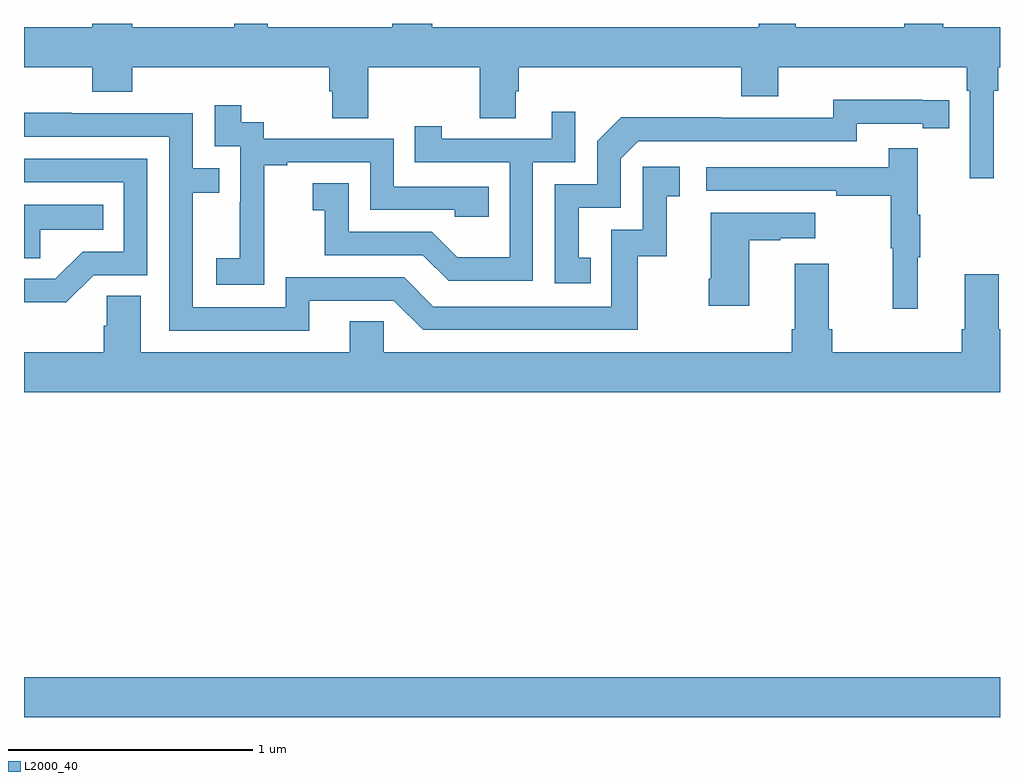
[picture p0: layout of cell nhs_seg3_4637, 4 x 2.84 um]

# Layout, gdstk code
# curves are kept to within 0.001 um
import gdstk
lib = gdstk.Library(unit=1e-6, precision=1e-09)
def R(c, l, rs):  # rectangles x0, y0, x1, y1
    for r in rs: c.add(gdstk.rectangle(r[:2], r[2:], *l))
def P(c, l, *ps):  # polygons
    for p in ps: c.add(gdstk.Polygon(p, *l))
L2000_40 = (2000, 40)

nhs_seg3_4637 = lib.new_cell('nhs_seg3_4637')
R(nhs_seg3_4637, L2000_40, [(359,727.556,363,727.72)])
P(nhs_seg3_4637, L2000_40, [(359.999,730.4),(359.861,730.4),(359.861,730.384),(359.443,730.384),(359.443,730.4),(359.279,730.4),(359.279,730.384),(359,730.384),(359,730.22),(359.279,730.22),(359.279,730.121),(359.444,730.121),(359.444,730.22),(360.251,730.22),(360.251,730.122),(360.263,730.122),(360.263,730.012),(360.411,730.012),(360.411,730.22),(360.868,730.22),(360.868,730.012),(361.015,730.012),(361.015,730.122),(361.028,730.122),(361.028,730.22),(361.94,730.22),(361.94,730.103),(362.092,730.103),(362.092,730.22),(362.864,730.22),(362.864,730.124),(362.877,730.124),(362.877,729.765),(362.974,729.765),(362.974,730.124),(362.993,730.124),(362.993,730.22),(363,730.22),(363,730.384),(362.768,730.384),(362.768,730.4),(362.608,730.4),(362.608,730.384),(362.163,730.384),(362.163,730.4),(362.012,730.4),(362.012,730.384),(360.673,730.384),(360.673,730.4),(360.509,730.4),(360.509,730.384),(359.999,730.384)],
  [(361.322,729.441),(361.273,729.441),(361.273,729.645),(361.446,729.645),(361.446,729.846),(361.518,729.918),(362.412,729.918),(362.412,729.99),(362.684,729.99),(362.684,729.97),(362.792,729.97),(362.792,730.086),(362.316,730.087),(362.316,730.014),(361.856,730.014),(361.856,730.016),(361.448,730.016),(361.35,729.918),(361.35,729.741),(361.176,729.741),(361.176,729.336),(361.322,729.336)],
  [(359.985,729.535),(359.984,729.535),(359.984,729.819),(360.079,729.819),(360.079,729.831),(360.42,729.831),(360.42,729.636),(360.765,729.636),(360.765,729.609),(360.905,729.609),(360.905,729.732),(360.516,729.732),(360.516,729.927),(359.982,729.927),(359.982,729.996),(359.89,729.996),(359.89,730.066),(359.781,730.066),(359.781,729.897),(359.886,729.897),(359.886,729.668),(359.885,729.668),(359.885,729.439),(359.787,729.439),(359.787,729.329),(359.985,729.329)],
  [(361.086,729.831),(361.26,729.831),(361.26,730.039),(361.163,730.039),(361.163,729.927),(360.712,729.927),(360.712,729.979),(360.601,729.979),(360.601,729.831),(360.99,729.831),(360.99,729.442),(360.776,729.442),(360.672,729.546),(360.33,729.546),(360.33,729.745),(360.183,729.745),(360.183,729.635),(360.232,729.635),(360.232,729.45),(360.635,729.45),(360.74,729.345),(361.086,729.345)],
  [(360.169,729.264),(360.516,729.264),(360.636,729.144),(361.516,729.144),(361.516,729.447),(361.634,729.447),(361.634,729.693),(361.687,729.693),(361.687,729.814),(361.536,729.814),(361.536,729.555),(361.407,729.555),(361.407,729.24),(360.678,729.24),(360.558,729.36),(360.072,729.36),(360.072,729.237),(359.691,729.237),(359.691,729.706),(359.801,729.706),(359.801,729.807),(359.691,729.807),(359.691,730.032),(359.195,730.032),(359.195,730.034),(359,730.034),(359,729.936),(359.595,729.936),(359.595,729.141),(360.169,729.141)],
  [(362.663,729.443),(362.674,729.443),(362.674,729.617),(362.663,729.617),(362.663,729.889),(362.545,729.889),(362.545,729.81),(361.797,729.81),(361.797,729.714),(362.329,729.714),(362.329,729.694),(362.553,729.694),(362.553,729.48),(362.56,729.48),(362.56,729.231),(362.663,729.231)],
  [(359.286,729.369),(359.505,729.369),(359.505,729.846),(359,729.846),(359,729.75),(359.409,729.75),(359.409,729.465),(359.24,729.465),(359.129,729.354),(359,729.354),(359,729.257),(359.173,729.257)],
  [(359.067,729.554),(359.324,729.554),(359.324,729.658),(359,729.658),(359,729.439),(359.067,729.439)],
  [(361.972,729.511),(362.099,729.511),(362.099,729.521),(362.242,729.521),(362.242,729.625),(361.814,729.625),(361.814,729.355),(361.807,729.355),(361.807,729.243),(361.972,729.243)],
  [(363,729.148),(362.995,729.148),(362.995,729.373),(362.855,729.373),(362.855,729.148),(362.843,729.148),(362.843,729.052),(362.312,729.052),(362.312,729.148),(362.299,729.148),(362.299,729.415),(362.159,729.415),(362.159,729.148),(362.147,729.148),(362.147,729.052),(360.474,729.052),(360.474,729.179),(360.335,729.179),(360.335,729.052),(359.479,729.052),(359.479,729.284),(359.34,729.284),(359.34,729.161),(359.327,729.161),(359.327,729.052),(359,729.052),(359,728.888),(363,728.888)])

lib.write_gds('nhs_seg3_4637.gds')
